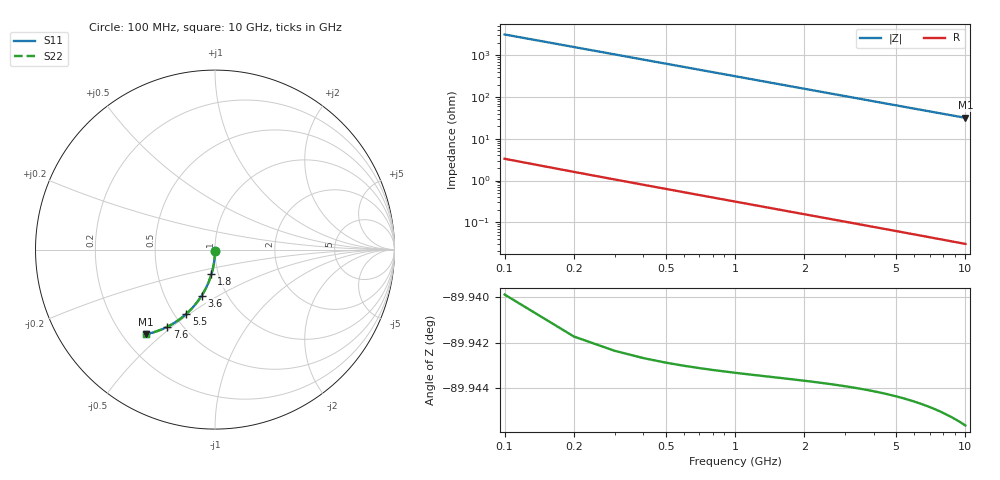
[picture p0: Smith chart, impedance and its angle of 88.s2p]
# Hz S RI R 50.00
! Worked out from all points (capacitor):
!   100 points, 100 MHz to 10 GHz, reference 50 ohm
!   read as one part in shunt: C = 502 fF near 100 MHz
!   lowest |Z| = 31.9 ohm at 10 GHz (marker M1)
!   S11 on the Smith chart (normalised r, x): 100 MHz: 1.00, -0.02; 1.8 GHz: 0.93, -0.26; 3.6 GHz: 0.76, -0.42; 5.5 GHz: 0.58, -0.49; 7.6 GHz: 0.42, -0.48; 10 GHz: 0.29, -0.44
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1e8  -1.98e-05 -0.00774  0.9999 -0.00802  0.9999 -0.00802  -1.98e-05 -0.00774
2e8  -0.000213 -0.0155  0.9997 -0.016  0.9997 -0.016  -0.000213 -0.0155
3e8  -0.000531 -0.0232  0.9994 -0.0241  0.9994 -0.0241  -0.000531 -0.0232
4e8  -0.000973 -0.0309  0.9989 -0.0321  0.9989 -0.0321  -0.000973 -0.0309
5e8  -0.00154 -0.0386  0.9984 -0.0401  0.9984 -0.0401  -0.00154 -0.0386
6e8  -0.00223 -0.0463  0.9977 -0.048  0.9977 -0.048  -0.00223 -0.0463
8e8  -0.00397 -0.0616  0.9959 -0.064  0.9959 -0.064  -0.00397 -0.0616
1.1e9  -0.00749 -0.0844  0.9924 -0.0876  0.9924 -0.0876  -0.00749 -0.0844
1.4e9  -0.0121 -0.107  0.9878 -0.111  0.9878 -0.111  -0.0121 -0.107
1.8e9  -0.0198 -0.1365  0.9801 -0.1417  0.9801 -0.1417  -0.0198 -0.1365
2.1e9  -0.0268 -0.1581  0.9731 -0.1641  0.9731 -0.1641  -0.0268 -0.1581
2.5e9  -0.0375 -0.1861  0.9624 -0.1933  0.9624 -0.1933  -0.0375 -0.1861
2.9e9  -0.0498 -0.213  0.95 -0.2215  0.95 -0.2215  -0.0498 -0.213
3.4e9  -0.0672 -0.2451  0.9326 -0.255  0.9326 -0.255  -0.0672 -0.2451
3.6e9  -0.0748 -0.2574  0.9251 -0.2679  0.9251 -0.2679  -0.0748 -0.2574
4.3e9  -0.1034 -0.2979  0.8964 -0.3104  0.8964 -0.3104  -0.1034 -0.2979
5.1e9  -0.1397 -0.3388  0.8601 -0.3537  0.8601 -0.3537  -0.1397 -0.3388
5.5e9  -0.1588 -0.3571  0.8409 -0.3732  0.8409 -0.3732  -0.1588 -0.3571
6.7e9  -0.2191 -0.4034  0.7806 -0.423  0.7806 -0.423  -0.2191 -0.4034
7.6e9  -0.2654 -0.43  0.7342 -0.4523  0.7342 -0.4523  -0.2654 -0.43
8.4e9  -0.3064 -0.4483  0.6931 -0.4729  0.6931 -0.4729  -0.3064 -0.4483
1e10  -0.3856 -0.4715  0.6139 -0.5011  0.6139 -0.5011  -0.3856 -0.4715
